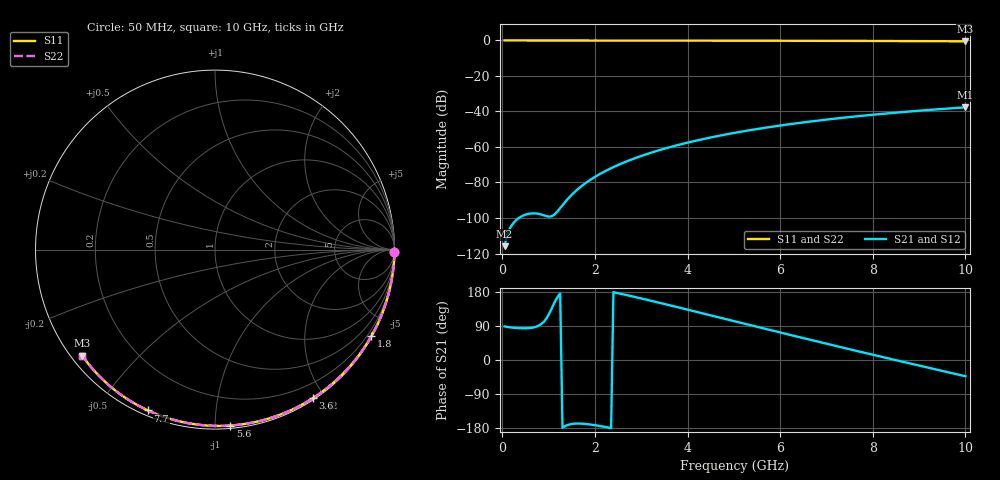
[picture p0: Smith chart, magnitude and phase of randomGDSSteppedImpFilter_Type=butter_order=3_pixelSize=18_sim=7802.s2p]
! freq	dB(S11)	phase(S11)	dB(S12)	phase(S12)
!  dB(S21)	phase(S21)	dB(S22)	phase(S22)
!S-par simulation data
#  GHz  S  DB  R 50
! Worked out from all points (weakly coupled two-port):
!   200 points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, 50 MHz to 10 GHz, reference 50 ohm
!   highest |S21| = -37.67 dB at 10 GHz (marker M1); lowest = -115.9 dB at 50 MHz (marker M2)
!   lowest |S11| = -0.5 dB at 10 GHz (marker M3), VSWR 36.49, Z = 1.54 - j17.5 ohm
!   |S11| at or under -10 dB: nowhere
!   |S22| runs from -0.5 to 0.0 dB; largest |S21 - S12| = 0
!   S11 on the Smith chart (normalised r, x): 50 MHz: open; 1.8 GHz: 0.03, -3.87; 3.6 GHz: 0.02, -1.86; 5.6 GHz: 0.02, -1.09; 7.7 GHz: 0.02, -0.67; 10 GHz: 0.03, -0.35
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0.05  -0.00 -0.8  -115.87 88.6  -115.87 88.6  -0.00 -0.8
0.45  -0.01 -7.3  -98.64 83.6  -98.64 83.6  -0.01 -7.4
0.9  -0.02 -14.6  -98.51 101.3  -98.51 101.3  -0.02 -14.6
1.75  -0.04 -28.2  -81.25 -168.2  -81.25 -168.2  -0.04 -28.2
1.8  -0.04 -29.0  -80.29 -168.8  -80.29 -168.8  -0.04 -29.0
1.85  -0.04 -29.7  -79.38 -169.4  -79.38 -169.4  -0.04 -29.8
2.05  -0.04 -32.9  -76.08 -172.9  -76.08 -172.9  -0.04 -32.9
2.2  -0.04 -35.2  -73.92 -176.2  -73.92 -176.2  -0.04 -35.2
2.55  -0.05 -40.6  -69.57 175.0  -69.57 175.0  -0.05 -40.7
2.95  -0.06 -46.8  -65.52 163.9  -65.52 163.9  -0.06 -46.8
3.4  -0.07 -53.6  -61.72 150.8  -61.72 150.8  -0.07 -53.6
3.6  -0.08 -56.5  -60.24 144.9  -60.24 144.9  -0.08 -56.6
3.9  -0.08 -61.0  -58.19 135.9  -58.19 135.9  -0.08 -61.0
4.3  -0.09 -66.8  -55.76 123.8  -55.76 123.8  -0.09 -66.8
5.05  -0.12 -77.4  -51.88 101.2  -51.88 101.2  -0.12 -77.4
5.6  -0.14 -85.0  -49.48 84.6  -49.48 84.6  -0.14 -85.0
6.15  -0.16 -92.4  -47.37 68.2  -47.37 68.2  -0.16 -92.5
6.7  -0.19 -99.7  -45.50 51.8  -45.50 51.8  -0.19 -99.7
7.7  -0.26 -112.6  -42.60 22.6  -42.60 22.6  -0.26 -112.6
8.35  -0.31 -120.8  -41.00 3.8  -41.00 3.8  -0.31 -120.8
9.2  -0.39 -131.4  -39.16 -20.4  -39.16 -20.4  -0.39 -131.4
10  -0.48 -141.3  -37.67 -42.9  -37.67 -42.9  -0.48 -141.4
